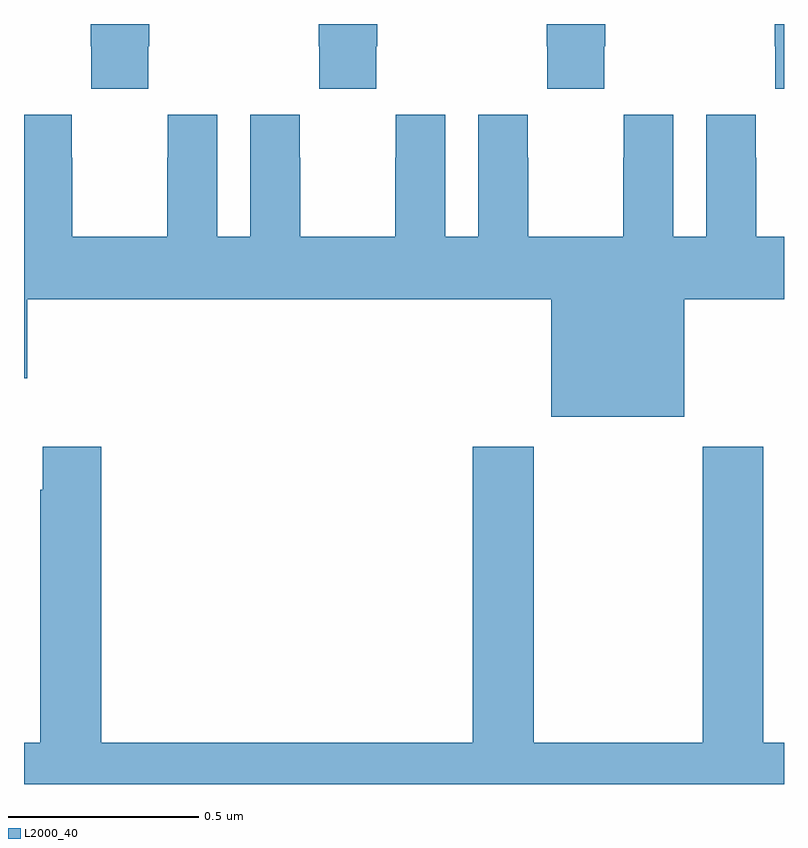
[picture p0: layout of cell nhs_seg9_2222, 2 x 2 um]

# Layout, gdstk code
import gdstk
lib = gdstk.Library(unit=1e-6, precision=1e-09)
def P(c, l, *ps):  # polygons
    for p in ps: c.add(gdstk.Polygon(p, *l))
L2000_40 = (2000, 40)

nhs_seg9_2222 = lib.new_cell('nhs_seg9_2222')
P(nhs_seg9_2222, L2000_40, [(138.327,1174.441),(138.33,1174.441),(138.33,1174.5),(138.175,1174.5),(138.175,1174.441),(138.177,1174.441),(138.177,1174.329),(138.327,1174.329)],
  [(138.927,1174.441),(138.93,1174.441),(138.93,1174.5),(138.775,1174.5),(138.775,1174.441),(138.777,1174.441),(138.777,1174.329),(138.927,1174.329)],
  [(139.527,1174.441),(139.53,1174.441),(139.53,1174.5),(139.375,1174.5),(139.375,1174.441),(139.377,1174.441),(139.377,1174.329),(139.527,1174.329)],
  [(140,1174.5),(139.975,1174.5),(139.975,1174.441),(139.977,1174.441),(139.977,1174.329),(140,1174.329)],
  [(139.738,1173.776),(140,1173.776),(140,1173.94),(139.927,1173.94),(139.927,1174.148),(139.926,1174.148),(139.926,1174.261),(139.796,1174.261),(139.796,1173.94),(139.708,1173.94),(139.708,1174.261),(139.578,1174.261),(139.578,1174.148),(139.577,1174.148),(139.577,1173.94),(139.327,1173.94),(139.327,1174.148),(139.326,1174.148),(139.326,1174.261),(139.196,1174.261),(139.196,1173.94),(139.108,1173.94),(139.108,1174.261),(138.978,1174.261),(138.978,1174.148),(138.977,1174.148),(138.977,1173.94),(138.727,1173.94),(138.727,1174.148),(138.726,1174.148),(138.726,1174.261),(138.596,1174.261),(138.596,1173.94),(138.508,1173.94),(138.508,1174.261),(138.378,1174.261),(138.378,1174.148),(138.377,1174.148),(138.377,1173.94),(138.127,1173.94),(138.127,1174.148),(138.126,1174.148),(138.126,1174.261),(138,1174.261),(138,1173.568),(138.008,1173.568),(138.008,1173.776),(139.388,1173.776),(139.388,1173.467),(139.738,1173.467)],
  [(139.341,1173.388),(139.181,1173.388),(139.181,1172.608),(138.203,1172.608),(138.203,1173.388),(138.049,1173.388),(138.049,1173.275),(138.043,1173.275),(138.043,1172.608),(138,1172.608),(138,1172.5),(140,1172.5),(140,1172.608),(139.946,1172.608),(139.946,1173.388),(139.786,1173.388),(139.786,1172.608),(139.341,1172.608)])

lib.write_gds('nhs_seg9_2222.gds')
